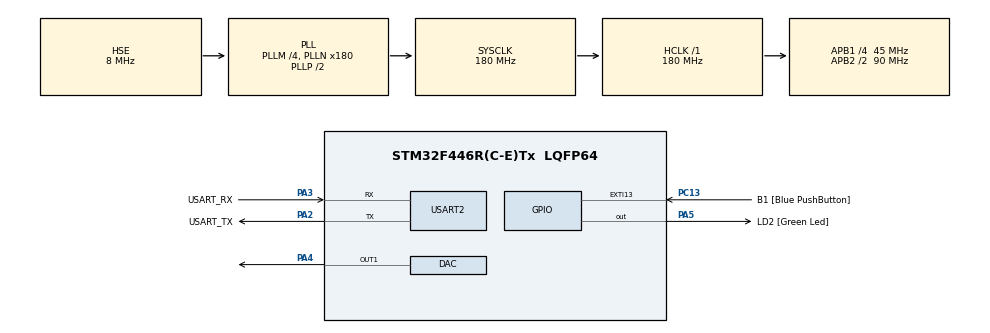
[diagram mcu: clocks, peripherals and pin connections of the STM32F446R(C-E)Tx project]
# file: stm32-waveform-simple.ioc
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Mcu.Family=STM32F4
Mcu.Name=STM32F446R(C-E)Tx
Mcu.Package=LQFP64
NVIC.PriorityGroup=NVIC_PRIORITYGROUP_0
PA13.GPIO_Label=TMS
PA13.Mode=Serial_Wire
PA13.Signal=SYS_JTMS-SWDIO
PA14.GPIO_Label=TCK
PA14.Mode=Serial_Wire
PA14.Signal=SYS_JTCK-SWCLK
PA2.GPIO_Label=USART_TX
PA2.Mode=Asynchronous
PA2.Signal=USART2_TX
PA3.GPIO_Label=USART_RX
PA3.Mode=Asynchronous
PA3.Signal=USART2_RX
PA4.Signal=COMP_DAC1_group
PA5.GPIO_Label=LD2 [Green Led]
PA5.Signal=GPIO_Output
PB3.GPIO_Label=SWO
PB3.Signal=SYS_JTDO-SWO
PC13.GPIO_Label=B1 [Blue PushButton]
PC13.GPIO_ModeDefaultEXTI=GPIO_MODE_IT_FALLING
PC13.Signal=GPXTI13
PC14-OSC32_IN.Mode=LSE-External-Oscillator
PC14-OSC32_IN.Signal=RCC_OSC32_IN
PC15-OSC32_OUT.Mode=LSE-External-Oscillator
PC15-OSC32_OUT.Signal=RCC_OSC32_OUT
PH0-OSC_IN.Mode=HSE-External-Oscillator
PH0-OSC_IN.Signal=RCC_OSC_IN
PH1-OSC_OUT.Mode=HSE-External-Oscillator
PH1-OSC_OUT.Signal=RCC_OSC_OUT
ProjectManager.HeapSize=0x200
ProjectManager.StackSize=0x400
ProjectManager.TargetToolchain=STM32CubeIDE
RCC.48MHZClocksFreq_Value=84000000
RCC.AHBFreq_Value=180000000
RCC.APB1CLKDivider=RCC_HCLK_DIV4
RCC.APB1Freq_Value=45000000
RCC.APB1TimFreq_Value=90000000
RCC.APB2CLKDivider=RCC_HCLK_DIV2
RCC.APB2Freq_Value=90000000
RCC.APB2TimFreq_Value=180000000
RCC.CortexFreq_Value=180000000
RCC.FLatency-AdvancedSettings=FLASH_LATENCY_5
RCC.HCLKFreq_Value=180000000
RCC.HSE_VALUE=8000000
RCC.HSI_VALUE=16000000
RCC.PLLM=4
RCC.PLLN=180
RCC.PLLSourceVirtual=RCC_PLLSOURCE_HSE
RCC.SYSCLKFreq_VALUE=180000000
RCC.SYSCLKSource=RCC_SYSCLKSOURCE_PLLCLK
RCC.USBFreq_Value=180000000
RCC.VCOOutputFreq_Value=360000000
SH.COMP_DAC1_group.0=DAC_OUT1,DAC_OUT1
TIM2.Prescaler=89
USART2.VirtualMode=VM_ASYNC
VP_TIM2_VS_ClockSourceINT.Mode=Internal
board=NUCLEO-F446RE

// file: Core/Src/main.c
/* USER CODE BEGIN Header */
/**
  ******************************************************************************
  * @file           : main.c
  * @brief          : Main program body
  ******************************************************************************
  * @attention
  *
  * Copyright (c) 2026 STMicroelectronics.
  * All rights reserved.
  *
  * This software is licensed under terms that can be found in the LICENSE file
  * in the root directory of this software component.
  * If no LICENSE file comes with this software, it is provided AS-IS.
  *
  ******************************************************************************
  */
/* USER CODE END Header */
#include "main.h"

DAC_HandleTypeDef hdac;

TIM_HandleTypeDef htim2;

UART_HandleTypeDef huart2;

void SystemClock_Config(void);
static void MX_GPIO_Init(void);
static void MX_DAC_Init(void);
static void MX_TIM2_Init(void);
static void MX_USART2_UART_Init(void);

/* USER CODE BEGIN 0 */
uint16_t sawtooth100[100] = {0, 41, 82, 123, 164, 205, 246, 287, 328, 369,
                        410, 451, 492, 533, 574, 615, 656, 697, 738, 779,
                        820, 861, 902, 943, 984, 1025, 1066, 1107, 1148, 1189,
                        1230, 1271, 1312, 1353, 1394, 1435, 1476, 1517, 1558, 1599,
                        1640, 1681, 1722, 1763, 1804, 1845, 1886, 1927, 1968, 2009,
                        2050, 2091, 2132, 2173, 2214, 2255, 2296, 2337, 2378, 2419,
                        2460, 2501, 2542, 2583, 2624, 2665, 2706, 2747, 2788, 2829,
                        2870, 2911, 2952, 2993, 3034, 3075, 3116, 3157, 3198, 3239,
                        3280, 3321, 3362, 3403, 3444, 3485, 3526, 3567, 3608, 3649,
                        3690, 3731, 3772, 3813, 3854, 3895, 3936, 3977, 4018, 4059};
uint16_t triangle100[100] = {0, 81, 162, 243, 324, 405, 486, 567, 648, 729,
                        810, 891, 972, 1053, 1134, 1215, 1296, 1377, 1458, 1539,
                        1620, 1701, 1782, 1863, 1944, 2025, 2106, 2187, 2268, 2349,
                        2430, 2511, 2592, 2673, 2754, 2835, 2916, 2997, 3078, 3159,
                        3240, 3321, 3402, 3483, 3564, 3645, 3726, 3807, 3888, 3969,
                        4050, 3969, 3888, 3807, 3726, 3645, 3564, 3483, 3402, 3321,
                        3240, 3159, 3078, 2997, 2916, 2835, 2754, 2673, 2592, 2511,
                        2430, 2349, 2268, 2187, 2106, 2025, 1944, 1863, 1782, 1701,
                        1620, 1539, 1458, 1377, 1296, 1215, 1134, 1053, 972, 891,
                        810, 729, 648, 567, 486, 405, 324, 243, 162, 81};
uint16_t sinewave100[100] = {0, 4, 16, 36, 64, 100, 144, 195, 253, 319,
                        391, 470, 555, 646, 742, 844, 950, 1061, 1176, 1294,
                        1415, 1538, 1664, 1791, 1919, 2048, 2176, 2304, 2431, 2557,
                        2680, 2801, 2919, 3034, 3145, 3251, 3353, 3449, 3540, 3625,
                        3704, 3776, 3842, 3900, 3951, 3995, 4031, 4059, 4079, 4091,
                        4095, 4091, 4079, 4059, 4031, 3995, 3951, 3900, 3842, 3776,
                        3704, 3625, 3540, 3449, 3353, 3251, 3145, 3034, 2919, 2801,
                        2680, 2557, 2431, 2304, 2176, 2048, 1919, 1791, 1664, 1538,
                        1415, 1294, 1176, 1061, 950, 844, 742, 646, 555, 470,
                        391, 319, 253, 195, 144, 100, 64, 36, 16, 4};

uint16_t sawtooth10[10]  = {0, 410, 820, 1230, 1640, 2050, 2460, 2870, 3280, 3690};
uint16_t triangle10[10]  = {0, 810, 1620, 2430, 3240, 4050, 3240, 2430, 1620, 810};
uint16_t sinewave10[10]  = {0, 391, 1415, 2680, 3704, 4095, 3704, 2680, 1415, 391};

/* 0.5V – 1.0V  (DAC 620–1241) */
uint16_t sawtooth_0p5_1v[100] = {620, 626, 633, 639, 645, 651, 658, 664, 670, 676,
                        683, 689, 695, 702, 708, 714, 720, 727, 733, 739,
                        745, 752, 758, 764, 771, 777, 783, 789, 796, 802,
                        808, 814, 821, 827, 833, 840, 846, 852, 858, 865,
                        871, 877, 883, 890, 896, 902, 909, 915, 921, 927,
                        934, 940, 946, 952, 959, 965, 971, 978, 984, 990,
                        996, 1003, 1009, 1015, 1021, 1028, 1034, 1040, 1047, 1053,
                        1059, 1065, 1072, 1078, 1084, 1090, 1097, 1103, 1109, 1116,
                        1122, 1128, 1134, 1141, 1147, 1153, 1159, 1166, 1172, 1178,
                        1185, 1191, 1197, 1203, 1210, 1216, 1222, 1228, 1235, 1241};
uint16_t triangle_0p5_1v[100] = {620, 632, 645, 657, 670, 682, 695, 707, 719, 732,
                        744, 757, 769, 781, 794, 806, 819, 831, 844, 856,
                        868, 881, 893, 906, 918, 931, 943, 955, 968, 980,
                        993, 1005, 1017, 1030, 1042, 1055, 1067, 1080, 1092, 1104,
                        1117, 1129, 1142, 1154, 1166, 1179, 1191, 1204, 1216, 1229,
                        1241, 1229, 1216, 1204, 1191, 1179, 1166, 1154, 1142, 1129,
                        1117, 1104, 1092, 1080, 1067, 1055, 1042, 1030, 1017, 1005,
                        993, 980, 968, 955, 943, 931, 918, 906, 893, 881,
                        868, 856, 844, 831, 819, 806, 794, 781, 769, 757,
                        744, 732, 719, 707, 695, 682, 670, 657, 645, 632};
uint16_t sinewave_0p5_1v[100] = {620, 621, 622, 625, 630, 635, 642, 650, 658, 668,
                        679, 691, 704, 718, 733, 748, 764, 781, 798, 816,
                        835, 853, 872, 892, 911, 931, 950, 969, 989, 1008,
                        1026, 1045, 1063, 1080, 1097, 1113, 1128, 1143, 1157, 1170,
                        1182, 1193, 1203, 1211, 1219, 1226, 1231, 1236, 1239, 1240,
                        1241, 1240, 1239, 1236, 1231, 1226, 1219, 1211, 1203, 1193,
                        1182, 1170, 1157, 1143, 1128, 1113, 1097, 1080, 1063, 1045,
                        1026, 1008, 989, 969, 950, 931, 911, 892, 872, 853,
                        835, 816, 798, 781, 764, 748, 733, 718, 704, 691,
                        679, 668, 658, 650, 642, 635, 630, 625, 622, 621};

/* 1.0V – 2.0V  (DAC 1241–2482) */
uint16_t sawtooth_1v_2v[100] = {1241, 1254, 1266, 1279, 1291, 1304, 1316, 1329, 1341, 1354,
                        1366, 1379, 1391, 1404, 1416, 1429, 1442, 1454, 1467, 1479,
                        1492, 1504, 1517, 1529, 1542, 1554, 1567, 1579, 1592, 1605,
                        1617, 1630, 1642, 1655, 1667, 1680, 1692, 1705, 1717, 1730,
                        1742, 1755, 1767, 1780, 1793, 1805, 1818, 1830, 1843, 1855,
                        1868, 1880, 1893, 1905, 1918, 1930, 1943, 1956, 1968, 1981,
                        1993, 2006, 2018, 2031, 2043, 2056, 2068, 2081, 2093, 2106,
                        2118, 2131, 2144, 2156, 2169, 2181, 2194, 2206, 2219, 2231,
                        2244, 2256, 2269, 2281, 2294, 2307, 2319, 2332, 2344, 2357,
                        2369, 2382, 2394, 2407, 2419, 2432, 2444, 2457, 2469, 2482};
uint16_t triangle_1v_2v[100] = {1241, 1266, 1291, 1315, 1340, 1365, 1390, 1415, 1440, 1464,
                        1489, 1514, 1539, 1564, 1588, 1613, 1638, 1663, 1688, 1713,
                        1737, 1762, 1787, 1812, 1837, 1862, 1886, 1911, 1936, 1961,
                        1986, 2010, 2035, 2060, 2085, 2110, 2135, 2159, 2184, 2209,
                        2234, 2259, 2283, 2308, 2333, 2358, 2383, 2408, 2432, 2457,
                        2482, 2457, 2432, 2408, 2383, 2358, 2333, 2308, 2283, 2259,
                        2234, 2209, 2184, 2159, 2135, 2110, 2085, 2060, 2035, 2010,
                        1986, 1961, 1936, 1911, 1886, 1862, 1837, 1812, 1787, 1762,
                        1737, 1713, 1688, 1663, 1638, 1613, 1588, 1564, 1539, 1514,
                        1489, 1464, 1440, 1415, 1390, 1365, 1340, 1315, 1291, 1266};
uint16_t sinewave_1v_2v[100] = {1241, 1242, 1246, 1252, 1260, 1271, 1285, 1300, 1318, 1338,
                        1360, 1383, 1409, 1437, 1466, 1497, 1529, 1563, 1597, 1633,
                        1670, 1707, 1745, 1784, 1823, 1862, 1900, 1939, 1978, 2016,
                        2053, 2090, 2126, 2160, 2194, 2226, 2257, 2286, 2314, 2340,
                        2363, 2385, 2405, 2423, 2438, 2452, 2463, 2471, 2477, 2481,
                        2482, 2481, 2477, 2471, 2463, 2452, 2438, 2423, 2405, 2385,
                        2363, 2340, 2314, 2286, 2257, 2226, 2194, 2160, 2126, 2090,
                        2053, 2016, 1978, 1939, 1900, 1862, 1823, 1784, 1745, 1707,
                        1670, 1633, 1597, 1563, 1529, 1497, 1466, 1437, 1409, 1383,
                        1360, 1338, 1318, 1300, 1285, 1271, 1260, 1252, 1246, 1242};

/* 2.0V – 2.5V  (DAC 2482–3102) */
uint16_t sawtooth_2v_2p5v[100] = {2482, 2488, 2495, 2501, 2507, 2513, 2520, 2526, 2532, 2538,
                        2545, 2551, 2557, 2563, 2570, 2576, 2582, 2588, 2595, 2601,
                        2607, 2614, 2620, 2626, 2632, 2639, 2645, 2651, 2657, 2664,
                        2670, 2676, 2682, 2689, 2695, 2701, 2707, 2714, 2720, 2726,
                        2733, 2739, 2745, 2751, 2758, 2764, 2770, 2776, 2783, 2789,
                        2795, 2801, 2808, 2814, 2820, 2826, 2833, 2839, 2845, 2851,
                        2858, 2864, 2870, 2877, 2883, 2889, 2895, 2902, 2908, 2914,
                        2920, 2927, 2933, 2939, 2945, 2952, 2958, 2964, 2970, 2977,
                        2983, 2989, 2996, 3002, 3008, 3014, 3021, 3027, 3033, 3039,
                        3046, 3052, 3058, 3064, 3071, 3077, 3083, 3089, 3096, 3102};
uint16_t triangle_2v_2p5v[100] = {2482, 2494, 2507, 2519, 2532, 2544, 2556, 2569, 2581, 2594,
                        2606, 2618, 2631, 2643, 2656, 2668, 2680, 2693, 2705, 2718,
                        2730, 2742, 2755, 2767, 2780, 2792, 2804, 2817, 2829, 2842,
                        2854, 2866, 2879, 2891, 2904, 2916, 2928, 2941, 2953, 2966,
                        2978, 2990, 3003, 3015, 3028, 3040, 3052, 3065, 3077, 3090,
                        3102, 3090, 3077, 3065, 3052, 3040, 3028, 3015, 3003, 2990,
                        2978, 2966, 2953, 2941, 2928, 2916, 2904, 2891, 2879, 2866,
                        2854, 2842, 2829, 2817, 2804, 2792, 2780, 2767, 2755, 2742,
                        2730, 2718, 2705, 2693, 2680, 2668, 2656, 2643, 2631, 2618,
                        2606, 2594, 2581, 2569, 2556, 2544, 2532, 2519, 2507, 2494};
uint16_t sinewave_2v_2p5v[100] = {2482, 2483, 2484, 2487, 2492, 2497, 2504, 2512, 2520, 2530,
                        2541, 2553, 2566, 2580, 2594, 2610, 2626, 2643, 2660, 2678,
                        2696, 2715, 2734, 2753, 2773, 2792, 2811, 2831, 2850, 2869,
                        2888, 2906, 2924, 2941, 2958, 2974, 2990, 3004, 3018, 3031,
                        3043, 3054, 3064, 3072, 3080, 3087, 3092, 3097, 3100, 3101,
                        3102, 3101, 3100, 3097, 3092, 3087, 3080, 3072, 3064, 3054,
                        3043, 3031, 3018, 3004, 2990, 2974, 2958, 2941, 2924, 2906,
                        2888, 2869, 2850, 2831, 2811, 2792, 2773, 2753, 2734, 2715,
                        2696, 2678, 2660, 2643, 2626, 2610, 2594, 2580, 2566, 2553,
                        2541, 2530, 2520, 2512, 2504, 2497, 2492, 2487, 2484, 2483};

void microDelay (uint16_t delay)
{
  __HAL_TIM_SET_COUNTER(&htim2, 0);
  while (__HAL_TIM_GET_COUNTER(&htim2) < delay);
}
/* USER CODE END 0 */

int main(void)
{

  /* MCU Configuration--------------------------------------------------------*/

  /* Reset of all peripherals, Initializes the Flash interface and the Systick. */
  HAL_Init();

  /* Configure the system clock */
  SystemClock_Config();

  /* Initialize all configured peripherals */
  MX_GPIO_Init();
  MX_DAC_Init();
  MX_TIM2_Init();
  MX_USART2_UART_Init();
  /* USER CODE BEGIN 2 */
    HAL_DAC_Start(&hdac, DAC_CHANNEL_1);
    HAL_TIM_Base_Start(&htim2);
//    HAL_DAC_SetValue(&hdac, DAC_CHANNEL_1, DAC_ALIGN_12B_R, 1*4096/3.3); //1241
//    HAL_Delay(3000);
//    HAL_DAC_SetValue(&hdac, DAC_CHANNEL_1, DAC_ALIGN_12B_R, 2*4096/3.3); //2482
//    HAL_Delay(3000);
//    HAL_DAC_SetValue(&hdac, DAC_CHANNEL_1, DAC_ALIGN_12B_R, 3*4096/3.3); //3723
//    HAL_Delay(3000);
  /* USER CODE END 2 */

  /* Infinite loop */
  while (1)
  {
      /* 0.5V-1.0V for 5 s  (100pts x 1us = 100us/cycle, 50000 cycles = 5s) */
      for(uint32_t cycle = 0; cycle < 50000; cycle++)
      {
          for(uint8_t i = 0; i < 100; i++)
          {
              HAL_DAC_SetValue(&hdac, DAC_CHANNEL_1, DAC_ALIGN_12B_R, sawtooth_0p5_1v[i]);
              microDelay(1);
          }
      }
      /* 1.0V-2.0V for 5 s */
      for(uint32_t cycle = 0; cycle < 50000; cycle++)
      {
          for(uint8_t i = 0; i < 100; i++)
          {
              HAL_DAC_SetValue(&hdac, DAC_CHANNEL_1, DAC_ALIGN_12B_R, sawtooth_1v_2v[i]);
              microDelay(1);
          }
      }
      /* 2.0V-2.5V for 5 s */
      for(uint32_t cycle = 0; cycle < 50000; cycle++)
      {
          for(uint8_t i = 0; i < 100; i++)
          {
              HAL_DAC_SetValue(&hdac, DAC_CHANNEL_1, DAC_ALIGN_12B_R, sawtooth_2v_2p5v[i]);
              microDelay(1);
          }
      }
  }
}

void SystemClock_Config(void)
{
  RCC_OscInitTypeDef RCC_OscInitStruct = {0};
  RCC_ClkInitTypeDef RCC_ClkInitStruct = {0};

  /** Configure the main internal regulator output voltage
  */
  __HAL_RCC_PWR_CLK_ENABLE();
  __HAL_PWR_VOLTAGESCALING_CONFIG(PWR_REGULATOR_VOLTAGE_SCALE1);

  /** Initializes the RCC Oscillators according to the specified parameters
  * in the RCC_OscInitTypeDef structure.
  */
  RCC_OscInitStruct.OscillatorType = RCC_OSCILLATORTYPE_HSE;
  RCC_OscInitStruct.HSEState = RCC_HSE_ON;
  RCC_OscInitStruct.PLL.PLLState = RCC_PLL_ON;
  RCC_OscInitStruct.PLL.PLLSource = RCC_PLLSOURCE_HSE;
  RCC_OscInitStruct.PLL.PLLM = 4;
  RCC_OscInitStruct.PLL.PLLN = 180;
  RCC_OscInitStruct.PLL.PLLP = RCC_PLLP_DIV2;
  RCC_OscInitStruct.PLL.PLLQ = 2;
  RCC_OscInitStruct.PLL.PLLR = 2;
  if (HAL_RCC_OscConfig(&RCC_OscInitStruct) != HAL_OK)
  {
    Error_Handler();
  }

  /** Activate the Over-Drive mode
  */
  if (HAL_PWREx_EnableOverDrive() != HAL_OK)
  {
    Error_Handler();
  }

  /** Initializes the CPU, AHB and APB buses clocks
  */
  RCC_ClkInitStruct.ClockType = RCC_CLOCKTYPE_HCLK|RCC_CLOCKTYPE_SYSCLK
                              |RCC_CLOCKTYPE_PCLK1|RCC_CLOCKTYPE_PCLK2;
  RCC_ClkInitStruct.SYSCLKSource = RCC_SYSCLKSOURCE_PLLCLK;
  RCC_ClkInitStruct.AHBCLKDivider = RCC_SYSCLK_DIV1;
  RCC_ClkInitStruct.APB1CLKDivider = RCC_HCLK_DIV4;
  RCC_ClkInitStruct.APB2CLKDivider = RCC_HCLK_DIV2;

  if (HAL_RCC_ClockConfig(&RCC_ClkInitStruct, FLASH_LATENCY_5) != HAL_OK)
  {
    Error_Handler();
  }
}

static void MX_DAC_Init(void)
{

  DAC_ChannelConfTypeDef sConfig = {0};

  /** DAC Initialization
  */
  hdac.Instance = DAC;
  if (HAL_DAC_Init(&hdac) != HAL_OK)
  {
    Error_Handler();
  }

  /** DAC channel OUT1 config
  */
  sConfig.DAC_Trigger = DAC_TRIGGER_NONE;
  sConfig.DAC_OutputBuffer = DAC_OUTPUTBUFFER_ENABLE;
  if (HAL_DAC_ConfigChannel(&hdac, &sConfig, DAC_CHANNEL_1) != HAL_OK)
  {
    Error_Handler();
  }

}

static void MX_TIM2_Init(void)
{

  TIM_ClockConfigTypeDef sClockSourceConfig = {0};
  TIM_MasterConfigTypeDef sMasterConfig = {0};

  htim2.Instance = TIM2;
  htim2.Init.Prescaler = 89;
  htim2.Init.CounterMode = TIM_COUNTERMODE_UP;
  htim2.Init.Period = 4294967295;
  htim2.Init.ClockDivision = TIM_CLOCKDIVISION_DIV1;
  htim2.Init.AutoReloadPreload = TIM_AUTORELOAD_PRELOAD_DISABLE;
  if (HAL_TIM_Base_Init(&htim2) != HAL_OK)
  {
    Error_Handler();
  }
  sClockSourceConfig.ClockSource = TIM_CLOCKSOURCE_INTERNAL;
  if (HAL_TIM_ConfigClockSource(&htim2, &sClockSourceConfig) != HAL_OK)
  {
    Error_Handler();
  }
  sMasterConfig.MasterOutputTrigger = TIM_TRGO_RESET;
  sMasterConfig.MasterSlaveMode = TIM_MASTERSLAVEMODE_DISABLE;
  if (HAL_TIMEx_MasterConfigSynchronization(&htim2, &sMasterConfig) != HAL_OK)
  {
    Error_Handler();
  }

}

static void MX_USART2_UART_Init(void)
{

  huart2.Instance = USART2;
  huart2.Init.BaudRate = 115200;
  huart2.Init.WordLength = UART_WORDLENGTH_8B;
  huart2.Init.StopBits = UART_STOPBITS_1;
  huart2.Init.Parity = UART_PARITY_NONE;
  huart2.Init.Mode = UART_MODE_TX_RX;
  huart2.Init.HwFlowCtl = UART_HWCONTROL_NONE;
  huart2.Init.OverSampling = UART_OVERSAMPLING_16;
  if (HAL_UART_Init(&huart2) != HAL_OK)
  {
    Error_Handler();
  }

}

static void MX_GPIO_Init(void)
{
  GPIO_InitTypeDef GPIO_InitStruct = {0};

  /* GPIO Ports Clock Enable */
  __HAL_RCC_GPIOC_CLK_ENABLE();
  __HAL_RCC_GPIOH_CLK_ENABLE();
  __HAL_RCC_GPIOA_CLK_ENABLE();
  __HAL_RCC_GPIOB_CLK_ENABLE();

  /*Configure GPIO pin Output Level */
  HAL_GPIO_WritePin(LD2_GPIO_Port, LD2_Pin, GPIO_PIN_RESET);

  /*Configure GPIO pin : B1_Pin */
  GPIO_InitStruct.Pin = B1_Pin;
  GPIO_InitStruct.Mode = GPIO_MODE_IT_FALLING;
  GPIO_InitStruct.Pull = GPIO_NOPULL;
  HAL_GPIO_Init(B1_GPIO_Port, &GPIO_InitStruct);

  /*Configure GPIO pin : LD2_Pin */
  GPIO_InitStruct.Pin = LD2_Pin;
  GPIO_InitStruct.Mode = GPIO_MODE_OUTPUT_PP;
  GPIO_InitStruct.Pull = GPIO_NOPULL;
  GPIO_InitStruct.Speed = GPIO_SPEED_FREQ_LOW;
  HAL_GPIO_Init(LD2_GPIO_Port, &GPIO_InitStruct);

}

void Error_Handler(void)
{
  __disable_irq();
  while (1)
  {
  }
}
